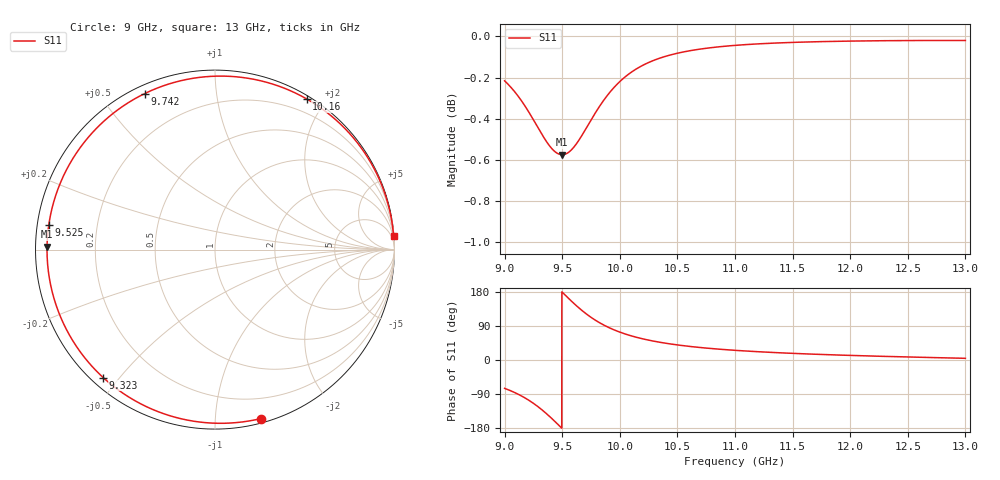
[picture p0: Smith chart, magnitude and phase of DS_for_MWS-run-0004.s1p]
! TOUCHSTONE file generated by CST DESIGN STUDIO
! Date and time: Tue Feb  4 18:07:12 2025
! Project name: C:\Work\MatlabApps\UnitCellOptimizationMatlab\CST\unitcell.cst
! Tree item: Tasks\Sweep1\SPara1\S-Parameters
! Header version: 2024
! Port assignment regex: !\s*Touchstone port\s*([0-9]+)\s*=\s*(CST MWS port|CST DES external port|CST DES block port)\s*(.+)\s* \(\"(.*)\"\)(\s*mode\s*([0-9]+))?.*
! Touchstone port assignment:
! Touchstone port 1 = CST DES external port 1 ("")
# GHz S MA R 50
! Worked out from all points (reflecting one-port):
!   4001 points, 9 GHz to 13 GHz, reference 50 ohm
!   lowest |S11| = -0.6 dB at 9.5 GHz (marker M1), VSWR 30.23, Z = 1.65 + j0.461 ohm
!   phase of S11 starts at -75 deg and turns -281 deg over the sweep
!   S11 on the Smith chart (normalised r, x): 9 GHz: 0.03, -1.31; 9.323 GHz: 0.03, -0.45; 9.525 GHz: 0.03, +0.07; 9.742 GHz: 0.03, +0.64; 10.16 GHz: 0.04, +1.78; 13 GHz: 1, +26
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9  0.9755 -74.8
9.085  0.9697 -85.6
9.186  0.961 -101.7
9.257  0.9537 -115.8
9.323  0.9468 -131.2
9.37  0.9423 -143.4
9.42  0.9385 -157.4
9.461  0.9366 -169.4
9.5  0.936 178.9
9.525  0.9362 171.5
9.578  0.9384 155.9
9.638  0.943 139.3
9.689  0.9479 126.4
9.742  0.9535 114.3
9.795  0.9588 103.7
9.853  0.9643 93.5
9.926  0.9702 82.7
10  0.9751 73.6
10.077  0.9792 65.7
10.16  0.9826 58.7
10.314  0.9872 48.6
10.5  0.9907 39.8
10.722  0.9932 32.2
11  0.995 25.5
11.5  0.9967 17.5
12  0.9974 12.1
12.5  0.9977 8.0
13  0.9978 4.5
